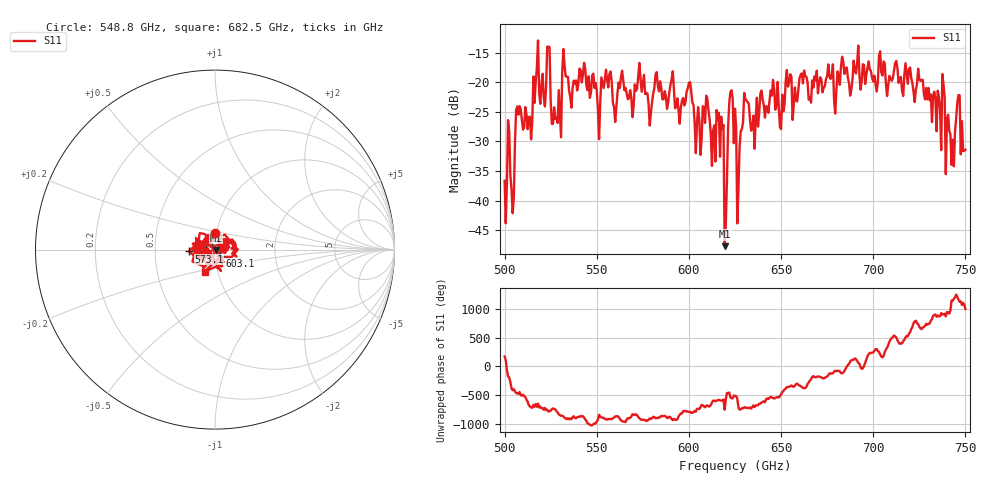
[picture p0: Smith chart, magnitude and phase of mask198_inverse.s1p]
!Created with skrf (http://scikit-rf.org).
# GHz S MA R 50.0
!freq magS11 angS11
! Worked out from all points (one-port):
!   401 points, 500 GHz to 750 GHz, reference 50 ohm
!   lowest |S11| = -47.7 dB at 619.4 GHz (marker M1), VSWR 1.01, Z = 50.4 - j0.212 ohm
!   |S11| at or under -10 dB: start of sweep to end of sweep
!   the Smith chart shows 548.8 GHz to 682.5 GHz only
!   S11 on the Smith chart (normalised r, x): 548.8 GHz: 0.98, +0.18; 573.1 GHz: 0.75, -0.02; 603.1 GHz: 1.05, -0.08; 682.5 GHz: 0.87, -0.22
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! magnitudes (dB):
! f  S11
! 500 GHz  -36.6
! 504.4 GHz  -42.1
! 507.5 GHz  -25.5
! 513.8 GHz  -25.8
! 516.9 GHz  -19.8
! 523.8 GHz  -14.0
! 526.9 GHz  -24.2
! 531.2 GHz  -18.4
! 548.8 GHz  -20.9
! 562.5 GHz  -21.0
! 573.1 GHz  -16.7
! 593.8 GHz  -22.7
! 600 GHz  -20.1
! 603.1 GHz  -27.0
! 616.2 GHz  -25.1
! 619.4 GHz  -47.7
! 622.5 GHz  -21.6
! 625 GHz  -24.5
! 627.5 GHz  -30.8
! 631.2 GHz  -23.1
! 634.4 GHz  -27.7
! 656.2 GHz  -26.3
! 682.5 GHz  -17.4
! 687.5 GHz  -22.3
! 718.8 GHz  -20.2
! 742.5 GHz  -33.9
! 745.6 GHz  -23.4
! 750 GHz  -31.4
